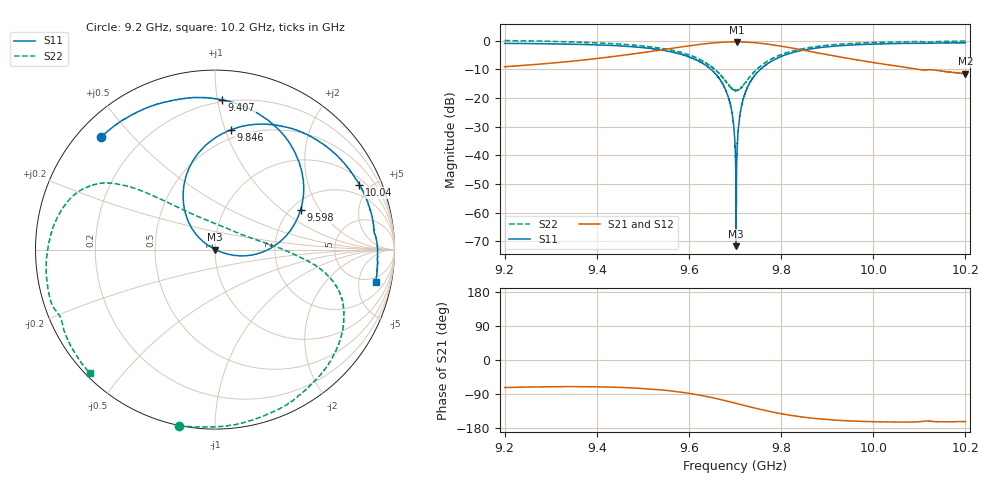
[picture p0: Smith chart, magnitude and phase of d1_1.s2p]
!Agilent Technologies,N5242A,MY51221714,A.09.90.19
!Agilent N5242A: A.09.90.19
!Date: Tuesday, March 26, 2024 16:07:44
!Correction: S11(Full 2 Port(1,2))
!S21(Full 2 Port(1,2))
!S12(Full 2 Port(1,2))
!S22(Full 2 Port(1,2))
!S2P File: Measurements: S11, S21, S12, S22:
# Hz S  dB  R 50
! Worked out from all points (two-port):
!   16001 points, 9.2 GHz to 10.2 GHz, reference 50 ohm
!   highest |S21| = -0.47 dB at 9.704 GHz (marker M1); lowest = -11.6 dB at 10.2 GHz (marker M2)
!   |S21| within 3 dB of the highest: 9.531939 GHz to 9.532068 GHz (129.4 kHz wide, 0.00136 % of centre); 9.532 GHz to 9.852 GHz (319.7 MHz wide, 3.3 % of centre)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
!   lowest |S11| = -71.6 dB at 9.703 GHz (marker M3), VSWR 1.00, Z = 50 - j0.0043 ohm
!   |S11| at or under -10 dB: 9.647467 GHz to 9.647535 GHz (68.26 kHz wide, 0.000708 % of centre); 9.648 GHz to 9.755 GHz (107.7 MHz wide, 1.11 % of centre); 9.755407 GHz to 9.755446 GHz (38.87 kHz wide, 0.000398 % of centre)
!   |S22| runs from -17.5 to 0.0 dB; largest |S21 - S12| = 0.012
!   S11 on the Smith chart (normalised r, x): 9.2 GHz: 0.07, +0.41; 9.407 GHz: 0.19, +1.03; 9.598 GHz: 2.24, +1.38; 9.846 GHz: 0.43, +1.04; 10.04 GHz: 1.31, +4.29; 10.2 GHz: 3.82, -8.34
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9.2e9  -0.99 135.4  -9.12 -72.7  -9.11 -73.4  0.00 -101.5
9.366688e9  -1.37 97.7  -6.87 -70.5  -6.86 -71.1  -0.63 -57.2
9.407438e9  -1.57 87.3  -6.13 -71.1  -6.11 -71.7  -0.87 -47.1
9.533375e9  -3.15 49.8  -3.44 -78.2  -3.43 -78.8  -2.55 -19.9
9.598e9  -5.58 25.0  -1.91 -87.6  -1.90 -88.2  -4.89 -9.0
9.644875e9  -9.64 3.4  -0.97 -97.9  -0.97 -98.5  -8.64 0.7
9.67525e9  -15.70 -11.9  -0.59 -106.3  -0.58 -106.8  -13.23 16.5
9.691812e9  -23.73 -20.7  -0.49 -111.2  -0.48 -111.7  -16.57 42.1
9.7e9  -35.97 -23.6  -0.47 -113.7  -0.46 -114.3  -17.34 61.7
9.702562e9  -71.65 -9.5  -0.48 -114.5  -0.47 -115.0  -17.42 68.7
9.703562e9  -43.78 144.8  -0.47 -114.9  -0.46 -115.4  -17.32 71.3
9.706312e9  -32.81 148.2  -0.48 -115.6  -0.47 -116.2  -17.32 78.9
9.710062e9  -26.67 148.9  -0.48 -116.8  -0.48 -117.4  -16.84 88.0
9.715e9  -22.26 146.1  -0.52 -118.4  -0.49 -118.9  -16.09 98.5
9.736875e9  -13.46 133.8  -0.70 -125.0  -0.68 -125.7  -11.77 125.8
9.779812e9  -7.17 111.6  -1.47 -136.9  -1.46 -137.5  -6.35 139.8
9.845625e9  -3.44 82.6  -3.26 -150.3  -3.28 -150.8  -2.88 148.8
9.866688e9  -2.86 74.6  -3.92 -153.3  -3.92 -153.8  -2.32 151.7
1.003338e10  -1.12 25.4  -8.50 -163.4  -8.49 -164.0  -0.53 -176.2
1.003862e10  -1.09 24.2  -8.61 -163.6  -8.61 -164.1  -0.50 -175.0
1.019988e10  -0.80 -11.3  -11.59 -162.5  -11.58 -163.0  -0.18 -135.4
1.02e10  -0.78 -11.3  -11.57 -162.5  -11.58 -163.0  -0.19 -135.4
